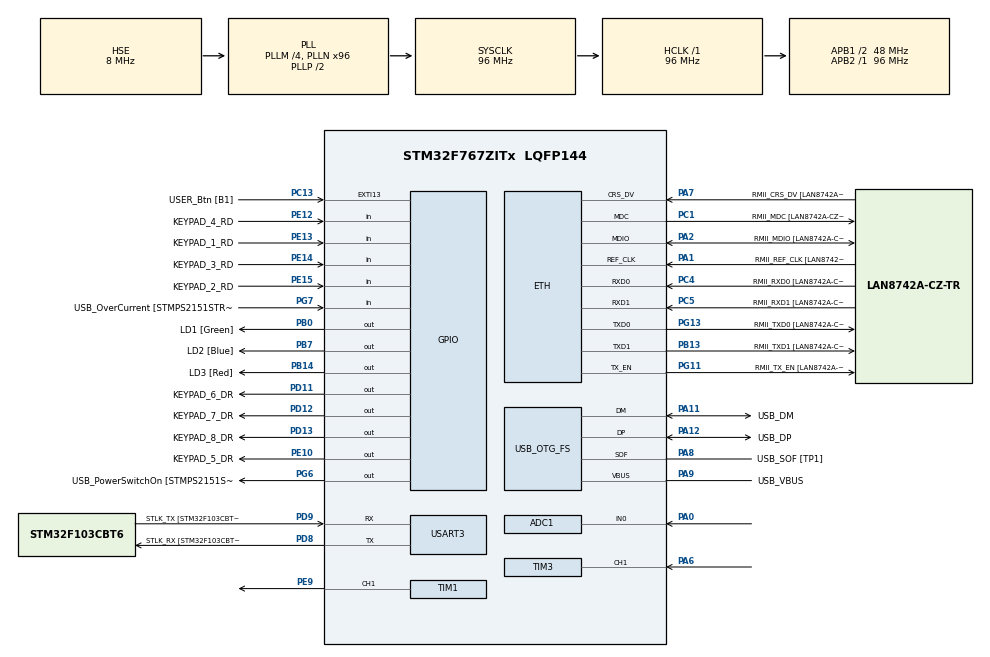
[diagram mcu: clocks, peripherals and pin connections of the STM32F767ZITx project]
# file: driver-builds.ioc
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ADC1.Channel-0\#ChannelRegularConversion=ADC_CHANNEL_0
ADC1.NbrOfConversionFlag=1
ADC1.Rank-0\#ChannelRegularConversion=1
ADC1.SamplingTime-0\#ChannelRegularConversion=ADC_SAMPLETIME_3CYCLES
ADC1.master=1
ETH.MediaInterface=HAL_ETH_RMII_MODE
ETH.PHY_Name=LAN8742A_PHY_ADDRESS
ETH.PHY_Value=0
ETH.PhyAddress=0
Mcu.Family=STM32F7
Mcu.Name=STM32F767ZITx
Mcu.Package=LQFP144
NVIC.EXTI15_10_IRQn=true\:0\:0\:false\:false\:true\:true\:true\:true
NVIC.PriorityGroup=NVIC_PRIORITYGROUP_4
NVIC.TIM3_IRQn=true\:0\:0\:false\:false\:true\:true\:true\:true
PA0/WKUP.Signal=ADCx_IN0
PA1.GPIO_Label=RMII_REF_CLK [LAN8742A-CZ-TR_REFCLK0]
PA1.Mode=RMII
PA1.Signal=ETH_REF_CLK
PA10.GPIO_Label=USB_ID
PA10.Signal=USB_OTG_FS_ID
PA11.GPIO_Label=USB_DM
PA11.Mode=Device_Only
PA11.Signal=USB_OTG_FS_DM
PA12.GPIO_Label=USB_DP
PA12.Mode=Device_Only
PA12.Signal=USB_OTG_FS_DP
PA13.GPIO_Label=TMS
PA13.Mode=Serial_Wire
PA13.Signal=SYS_JTMS-SWDIO
PA14.GPIO_Label=TCK
PA14.Mode=Serial_Wire
PA14.Signal=SYS_JTCK-SWCLK
PA2.GPIO_Label=RMII_MDIO [LAN8742A-CZ-TR_MDIO]
PA2.Mode=RMII
PA2.Signal=ETH_MDIO
PA6.Signal=S_TIM3_CH1
PA7.GPIO_Label=RMII_CRS_DV [LAN8742A-CZ-TR_CRS_DV]
PA7.Mode=RMII
PA7.Signal=ETH_CRS_DV
PA8.GPIO_Label=USB_SOF [TP1]
PA8.Mode=Activate_SOF_FS
PA8.Signal=USB_OTG_FS_SOF
PA9.GPIO_Label=USB_VBUS
PA9.Mode=Activate_VBUS
PA9.Signal=USB_OTG_FS_VBUS
PB0.GPIO_Label=LD1 [Green]
PB0.Signal=GPIO_Output
PB13.GPIO_Label=RMII_TXD1 [LAN8742A-CZ-TR_TXD1]
PB13.Mode=RMII
PB13.Signal=ETH_TXD1
PB14.GPIO_Label=LD3 [Red]
PB14.Signal=GPIO_Output
PB3.GPIO_Label=SWO
PB3.Signal=SYS_JTDO-SWO
PB7.GPIO_Label=LD2 [Blue]
PB7.Signal=GPIO_Output
PC1.GPIO_Label=RMII_MDC [LAN8742A-CZ-TR_MDC]
PC1.Mode=RMII
PC1.Signal=ETH_MDC
PC13.GPIO_Label=USER_Btn [B1]
PC13.GPIO_ModeDefaultEXTI=GPIO_MODE_IT_RISING
PC13.Signal=GPXTI13
PC14/OSC32_IN.Mode=LSE-External-Oscillator
PC14/OSC32_IN.Signal=RCC_OSC32_IN
PC15/OSC32_OUT.Mode=LSE-External-Oscillator
PC15/OSC32_OUT.Signal=RCC_OSC32_OUT
PC4.GPIO_Label=RMII_RXD0 [LAN8742A-CZ-TR_RXD0]
PC4.Mode=RMII
PC4.Signal=ETH_RXD0
PC5.GPIO_Label=RMII_RXD1 [LAN8742A-CZ-TR_RXD1]
PC5.Mode=RMII
PC5.Signal=ETH_RXD1
PD11.GPIO_Label=KEYPAD_6_DR
PD11.Signal=GPIO_Output
PD12.GPIO_Label=KEYPAD_7_DR
PD12.Signal=GPIO_Output
PD13.GPIO_Label=KEYPAD_8_DR
PD13.Signal=GPIO_Output
PD8.GPIO_Label=STLK_RX [STM32F103CBT6_PA3]
PD8.Mode=Asynchronous
PD8.Signal=USART3_TX
PD9.GPIO_Label=STLK_TX [STM32F103CBT6_PA2]
PD9.Mode=Asynchronous
PD9.Signal=USART3_RX
PE10.GPIO_Label=KEYPAD_5_DR
PE10.Signal=GPIO_Output
PE12.GPIO_Label=KEYPAD_4_RD
PE12.GPIO_PuPd=GPIO_PULLDOWN
PE12.Signal=GPIO_Input
PE13.GPIO_Label=KEYPAD_1_RD
PE13.GPIO_PuPd=GPIO_PULLDOWN
PE13.Signal=GPIO_Input
PE14.GPIO_Label=KEYPAD_3_RD
PE14.GPIO_PuPd=GPIO_PULLDOWN
PE14.Signal=GPIO_Input
PE15.GPIO_Label=KEYPAD_2_RD
PE15.GPIO_PuPd=GPIO_PULLDOWN
PE15.Signal=GPIO_Input
PE9.Signal=S_TIM1_CH1
PG11.GPIO_Label=RMII_TX_EN [LAN8742A-CZ-TR_TXEN]
PG11.Mode=RMII
PG11.Signal=ETH_TX_EN
PG13.GPIO_Label=RMII_TXD0 [LAN8742A-CZ-TR_TXD0]
PG13.Mode=RMII
PG13.Signal=ETH_TXD0
PG6.GPIO_Label=USB_PowerSwitchOn [STMPS2151STR_EN]
PG6.Signal=GPIO_Output
PG7.GPIO_Label=USB_OverCurrent [STMPS2151STR_FAULT]
PG7.Signal=GPIO_Input
PH0/OSC_IN.GPIO_Label=MCO [STM32F103CBT6_PA8]
PH0/OSC_IN.Mode=HSE-External-Clock-Source
PH0/OSC_IN.Signal=RCC_OSC_IN
PH1/OSC_OUT.Mode=HSE-External-Clock-Source
PH1/OSC_OUT.Signal=RCC_OSC_OUT
ProjectManager.HeapSize=0x200
ProjectManager.StackSize=0x400
ProjectManager.TargetToolchain=STM32CubeIDE
RCC.48MHZClocksFreq_Value=24000000
RCC.AHBFreq_Value=96000000
RCC.APB1CLKDivider=RCC_HCLK_DIV2
RCC.APB1Freq_Value=48000000
RCC.APB1TimFreq_Value=96000000
RCC.APB2Freq_Value=96000000
RCC.APB2TimFreq_Value=96000000
RCC.CortexFreq_Value=96000000
RCC.HCLKFreq_Value=96000000
RCC.HSE_VALUE=8000000
RCC.HSI_VALUE=16000000
RCC.PLLM=4
RCC.PLLMUL=RCC_PLL_MUL9
RCC.PLLN=96
RCC.PLLQ=4
RCC.PRESCALERUSB=RCC_USBCLKSOURCE_PLL_DIV1_5
RCC.SYSCLKFreq_VALUE=96000000
RCC.SYSCLKSource=RCC_SYSCLKSOURCE_PLLCLK
RCC.SYSCLKSourceVirtual=RCC_SYSCLKSOURCE_PLLCLK
RCC.USBFreq_Value=48000000
RCC.VCOOutputFreq_Value=192000000
SH.ADCx_IN0.0=ADC1_IN0,IN0
SH.S_TIM1_CH1.0=TIM1_CH1,PWM Generation1 CH1
SH.S_TIM3_CH1.0=TIM3_CH1,Input_Capture1_from_TI1
SH.S_TIM3_CH1.1=TIM3_CH1,TriggerSource_TI1FP1
TIM1.Channel-PWM\ Generation1\ CH1=TIM_CHANNEL_1
TIM1.Period=999
TIM1.Prescaler=95
TIM1.Pulse-PWM\ Generation1\ CH1=400
TIM3.Channel-Input_Capture1_from_TI1=TIM_CHANNEL_1
TIM3.Channel-Input_Capture2_from_TI1_63=TIM_CHANNEL_2
TIM3.ICFilter_CH1=2
TIM3.ICPolarity_CH2=TIM_INPUTCHANNELPOLARITY_FALLING
TIM3.Period=65535
TIM3.Prescaler=9
USART3.VirtualMode-Asynchronous=VM_ASYNC
USB_OTG_FS.VirtualMode=Device_Only
VP_TIM1_VS_ClockSourceINT.Mode=Internal
VP_TIM3_VS_ClockSourceINT.Mode=Internal
VP_TIM3_VS_ControllerModeReset.Mode=Reset Mode
VP_TIM3_VS_indirect_ch1.Mode=Input_Capture2_from_TI1_63
board=NUCLEO-F767ZI

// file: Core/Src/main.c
/* USER CODE BEGIN Header */
/**
  ******************************************************************************
  * @file           : main.c
  * @brief          : Main program body
  ******************************************************************************
  * @attention
  *
  * Copyright (c) 2025 STMicroelectronics.
  * All rights reserved.
  *
  * This software is licensed under terms that can be found in the LICENSE file
  * in the root directory of this software component.
  * If no LICENSE file comes with this software, it is provided AS-IS.
  *
  ******************************************************************************
  */
/* USER CODE END Header */
#include "main.h"
#include "string.h"

/* USER CODE BEGIN PD */
#define TIM_CLK 96000000

/* USER CODE END PD */

#if defined ( __ICCARM__ ) /*!< IAR Compiler */
#pragma location=0x2007c000
ETH_DMADescTypeDef  DMARxDscrTab[ETH_RX_DESC_CNT]; /* Ethernet Rx DMA Descriptors */
#pragma location=0x2007c0a0
ETH_DMADescTypeDef  DMATxDscrTab[ETH_TX_DESC_CNT]; /* Ethernet Tx DMA Descriptors */

#elif defined ( __CC_ARM )  /* MDK ARM Compiler */

__attribute__((at(0x2007c000))) ETH_DMADescTypeDef  DMARxDscrTab[ETH_RX_DESC_CNT]; /* Ethernet Rx DMA Descriptors */
__attribute__((at(0x2007c0a0))) ETH_DMADescTypeDef  DMATxDscrTab[ETH_TX_DESC_CNT]; /* Ethernet Tx DMA Descriptors */

#elif defined ( __GNUC__ ) /* GNU Compiler */

ETH_DMADescTypeDef DMARxDscrTab[ETH_RX_DESC_CNT] __attribute__((section(".RxDecripSection"))); /* Ethernet Rx DMA Descriptors */
ETH_DMADescTypeDef DMATxDscrTab[ETH_TX_DESC_CNT] __attribute__((section(".TxDecripSection")));   /* Ethernet Tx DMA Descriptors */
#endif

ETH_TxPacketConfig TxConfig;

ADC_HandleTypeDef hadc1;

ETH_HandleTypeDef heth;

TIM_HandleTypeDef htim1;
TIM_HandleTypeDef htim3;

UART_HandleTypeDef huart3;

PCD_HandleTypeDef hpcd_USB_OTG_FS;

/* USER CODE BEGIN PV */
volatile uint32_t IC_Val1 = 0; // For channel 1
volatile uint32_t IC_Val2 = 0; // For channel 2
volatile uint32_t Is_Capture_Done = 0; // Acts as a flag

volatile float frequency = 0.0f;
volatile float duty_cycle = 0.0f;

/* USER CODE END PV */

void SystemClock_Config(void);
static void MX_GPIO_Init(void);
static void MX_ETH_Init(void);
static void MX_USART3_UART_Init(void);
static void MX_USB_OTG_FS_PCD_Init(void);
static void MX_TIM3_Init(void);
static void MX_TIM1_Init(void);
static void MX_ADC1_Init(void);
/* USER CODE BEGIN PFP */
#define PUTCHAR_PROTOTYPE int __io_putchar(int ch) //With GCC used, else use fputc
/* USER CODE END PFP */

/* USER CODE BEGIN 0 */
PUTCHAR_PROTOTYPE
{
  HAL_UART_Transmit(&huart3, (uint8_t *)&ch, 1, HAL_MAX_DELAY);
  return ch;
}
/* USER CODE END 0 */

int main(void)
{

  /* USER CODE BEGIN 1 */
	MyGPIO drivers[KEYPAD_ROWS] = { {GPIOE, GPIO_PIN_10} , {GPIOD, GPIO_PIN_11} , \
			{GPIOD, GPIO_PIN_12} , {GPIOD, GPIO_PIN_13} };
	MyGPIO readers[KEYPAD_ROWS] = { {GPIOE, GPIO_PIN_13} , {GPIOE, GPIO_PIN_15} , \
			{GPIOE, GPIO_PIN_14} , {GPIOE, GPIO_PIN_12} };
	KeyPad pad;
  /* USER CODE END 1 */

  /* MCU Configuration--------------------------------------------------------*/

  /* Reset of all peripherals, Initializes the Flash interface and the Systick. */
  HAL_Init();

  /* USER CODE BEGIN Init */
  myKeyPad_Init(&pad, drivers, readers);
  /* USER CODE END Init */

  /* Configure the system clock */
  SystemClock_Config();

  /* Initialize all configured peripherals */
  MX_GPIO_Init();
  MX_ETH_Init();
  MX_USART3_UART_Init();
  MX_USB_OTG_FS_PCD_Init();
  MX_TIM3_Init();
  MX_TIM1_Init();
  MX_ADC1_Init();
  /* USER CODE BEGIN 2 */

  HAL_TIM_IC_Start_IT(&htim3, TIM_CHANNEL_1);
  HAL_TIM_IC_Start_IT(&htim3, TIM_CHANNEL_2);

  HAL_TIM_PWM_Start(&htim1, TIM_CHANNEL_1);

  /* USER CODE END 2 */

  /* Infinite loop */
  while (1)
  {

    /* USER CODE BEGIN 3 */

	  if (Is_Capture_Done) {
	      printf("Frequency: %.2f Hz, Duty Cycle: %.2f %%\r\n", frequency, duty_cycle);
	      //printf("IC1: %4d IC2: %4d\r\n", IC_Val1, IC_Val2);
		  Is_Capture_Done = 0;
	  }
	  HAL_Delay(500);

	  /*
	  myKeyPad_Read(&pad);
	  printf("Res: %d\r\n", pad.num);
	  for (int i = 0; i < 4; i++) {
		  for (int j = 0; j < 4; j++) {
			  printf("%d ", pad.buttons[i][j]);
		  }
		  printf("\r\n");
	  }
	  printf("\r\n");
	  HAL_Delay(100);*/

  }

  myKeyPad_DeInit(&pad);
  /* USER CODE END 3 */
}

void SystemClock_Config(void)
{
  RCC_OscInitTypeDef RCC_OscInitStruct = {0};
  RCC_ClkInitTypeDef RCC_ClkInitStruct = {0};

  /** Configure LSE Drive Capability
  */
  HAL_PWR_EnableBkUpAccess();

  /** Configure the main internal regulator output voltage
  */
  __HAL_RCC_PWR_CLK_ENABLE();
  __HAL_PWR_VOLTAGESCALING_CONFIG(PWR_REGULATOR_VOLTAGE_SCALE3);

  /** Initializes the RCC Oscillators according to the specified parameters
  * in the RCC_OscInitTypeDef structure.
  */
  RCC_OscInitStruct.OscillatorType = RCC_OSCILLATORTYPE_HSE;
  RCC_OscInitStruct.HSEState = RCC_HSE_BYPASS;
  RCC_OscInitStruct.PLL.PLLState = RCC_PLL_ON;
  RCC_OscInitStruct.PLL.PLLSource = RCC_PLLSOURCE_HSE;
  RCC_OscInitStruct.PLL.PLLM = 4;
  RCC_OscInitStruct.PLL.PLLN = 96;
  RCC_OscInitStruct.PLL.PLLP = RCC_PLLP_DIV2;
  RCC_OscInitStruct.PLL.PLLQ = 4;
  RCC_OscInitStruct.PLL.PLLR = 2;
  if (HAL_RCC_OscConfig(&RCC_OscInitStruct) != HAL_OK)
  {
    Error_Handler();
  }

  /** Activate the Over-Drive mode
  */
  if (HAL_PWREx_EnableOverDrive() != HAL_OK)
  {
    Error_Handler();
  }

  /** Initializes the CPU, AHB and APB buses clocks
  */
  RCC_ClkInitStruct.ClockType = RCC_CLOCKTYPE_HCLK|RCC_CLOCKTYPE_SYSCLK
                              |RCC_CLOCKTYPE_PCLK1|RCC_CLOCKTYPE_PCLK2;
  RCC_ClkInitStruct.SYSCLKSource = RCC_SYSCLKSOURCE_PLLCLK;
  RCC_ClkInitStruct.AHBCLKDivider = RCC_SYSCLK_DIV1;
  RCC_ClkInitStruct.APB1CLKDivider = RCC_HCLK_DIV2;
  RCC_ClkInitStruct.APB2CLKDivider = RCC_HCLK_DIV1;

  if (HAL_RCC_ClockConfig(&RCC_ClkInitStruct, FLASH_LATENCY_3) != HAL_OK)
  {
    Error_Handler();
  }
}

static void MX_ADC1_Init(void)
{

  ADC_ChannelConfTypeDef sConfig = {0};

  /** Configure the global features of the ADC (Clock, Resolution, Data Alignment and number of conversion)
  */
  hadc1.Instance = ADC1;
  hadc1.Init.ClockPrescaler = ADC_CLOCK_SYNC_PCLK_DIV4;
  hadc1.Init.Resolution = ADC_RESOLUTION_12B;
  hadc1.Init.ScanConvMode = ADC_SCAN_DISABLE;
  hadc1.Init.ContinuousConvMode = DISABLE;
  hadc1.Init.DiscontinuousConvMode = DISABLE;
  hadc1.Init.ExternalTrigConvEdge = ADC_EXTERNALTRIGCONVEDGE_NONE;
  hadc1.Init.ExternalTrigConv = ADC_SOFTWARE_START;
  hadc1.Init.DataAlign = ADC_DATAALIGN_RIGHT;
  hadc1.Init.NbrOfConversion = 1;
  hadc1.Init.DMAContinuousRequests = DISABLE;
  hadc1.Init.EOCSelection = ADC_EOC_SINGLE_CONV;
  if (HAL_ADC_Init(&hadc1) != HAL_OK)
  {
    Error_Handler();
  }

  /** Configure for the selected ADC regular channel its corresponding rank in the sequencer and its sample time.
  */
  sConfig.Channel = ADC_CHANNEL_0;
  sConfig.Rank = ADC_REGULAR_RANK_1;
  sConfig.SamplingTime = ADC_SAMPLETIME_3CYCLES;
  if (HAL_ADC_ConfigChannel(&hadc1, &sConfig) != HAL_OK)
  {
    Error_Handler();
  }

}

static void MX_ETH_Init(void)
{

   static uint8_t MACAddr[6];

  heth.Instance = ETH;
  MACAddr[0] = 0x00;
  MACAddr[1] = 0x80;
  MACAddr[2] = 0xE1;
  MACAddr[3] = 0x00;
  MACAddr[4] = 0x00;
  MACAddr[5] = 0x00;
  heth.Init.MACAddr = &MACAddr[0];
  heth.Init.MediaInterface = HAL_ETH_RMII_MODE;
  heth.Init.TxDesc = DMATxDscrTab;
  heth.Init.RxDesc = DMARxDscrTab;
  heth.Init.RxBuffLen = 1524;

  if (HAL_ETH_Init(&heth) != HAL_OK)
  {
    Error_Handler();
  }

  memset(&TxConfig, 0 , sizeof(ETH_TxPacketConfig));
  TxConfig.Attributes = ETH_TX_PACKETS_FEATURES_CSUM | ETH_TX_PACKETS_FEATURES_CRCPAD;
  TxConfig.ChecksumCtrl = ETH_CHECKSUM_IPHDR_PAYLOAD_INSERT_PHDR_CALC;
  TxConfig.CRCPadCtrl = ETH_CRC_PAD_INSERT;

}

static void MX_TIM1_Init(void)
{

  TIM_ClockConfigTypeDef sClockSourceConfig = {0};
  TIM_MasterConfigTypeDef sMasterConfig = {0};
  TIM_OC_InitTypeDef sConfigOC = {0};
  TIM_BreakDeadTimeConfigTypeDef sBreakDeadTimeConfig = {0};

  htim1.Instance = TIM1;
  htim1.Init.Prescaler = 95;
  htim1.Init.CounterMode = TIM_COUNTERMODE_UP;
  htim1.Init.Period = 999;
  htim1.Init.ClockDivision = TIM_CLOCKDIVISION_DIV1;
  htim1.Init.RepetitionCounter = 0;
  htim1.Init.AutoReloadPreload = TIM_AUTORELOAD_PRELOAD_DISABLE;
  if (HAL_TIM_Base_Init(&htim1) != HAL_OK)
  {
    Error_Handler();
  }
  sClockSourceConfig.ClockSource = TIM_CLOCKSOURCE_INTERNAL;
  if (HAL_TIM_ConfigClockSource(&htim1, &sClockSourceConfig) != HAL_OK)
  {
    Error_Handler();
  }
  if (HAL_TIM_PWM_Init(&htim1) != HAL_OK)
  {
    Error_Handler();
  }
  sMasterConfig.MasterOutputTrigger = TIM_TRGO_RESET;
  sMasterConfig.MasterOutputTrigger2 = TIM_TRGO2_RESET;
  sMasterConfig.MasterSlaveMode = TIM_MASTERSLAVEMODE_DISABLE;
  if (HAL_TIMEx_MasterConfigSynchronization(&htim1, &sMasterConfig) != HAL_OK)
  {
    Error_Handler();
  }
  sConfigOC.OCMode = TIM_OCMODE_PWM1;
  sConfigOC.Pulse = 400;
  sConfigOC.OCPolarity = TIM_OCPOLARITY_HIGH;
  sConfigOC.OCNPolarity = TIM_OCNPOLARITY_HIGH;
  sConfigOC.OCFastMode = TIM_OCFAST_DISABLE;
  sConfigOC.OCIdleState = TIM_OCIDLESTATE_RESET;
  sConfigOC.OCNIdleState = TIM_OCNIDLESTATE_RESET;
  if (HAL_TIM_PWM_ConfigChannel(&htim1, &sConfigOC, TIM_CHANNEL_1) != HAL_OK)
  {
    Error_Handler();
  }
  sBreakDeadTimeConfig.OffStateRunMode = TIM_OSSR_DISABLE;
  sBreakDeadTimeConfig.OffStateIDLEMode = TIM_OSSI_DISABLE;
  sBreakDeadTimeConfig.LockLevel = TIM_LOCKLEVEL_OFF;
  sBreakDeadTimeConfig.DeadTime = 0;
  sBreakDeadTimeConfig.BreakState = TIM_BREAK_DISABLE;
  sBreakDeadTimeConfig.BreakPolarity = TIM_BREAKPOLARITY_HIGH;
  sBreakDeadTimeConfig.BreakFilter = 0;
  sBreakDeadTimeConfig.Break2State = TIM_BREAK2_DISABLE;
  sBreakDeadTimeConfig.Break2Polarity = TIM_BREAK2POLARITY_HIGH;
  sBreakDeadTimeConfig.Break2Filter = 0;
  sBreakDeadTimeConfig.AutomaticOutput = TIM_AUTOMATICOUTPUT_DISABLE;
  if (HAL_TIMEx_ConfigBreakDeadTime(&htim1, &sBreakDeadTimeConfig) != HAL_OK)
  {
    Error_Handler();
  }
  HAL_TIM_MspPostInit(&htim1);

}

static void MX_TIM3_Init(void)
{

  TIM_ClockConfigTypeDef sClockSourceConfig = {0};
  TIM_SlaveConfigTypeDef sSlaveConfig = {0};
  TIM_MasterConfigTypeDef sMasterConfig = {0};
  TIM_IC_InitTypeDef sConfigIC = {0};

  htim3.Instance = TIM3;
  htim3.Init.Prescaler = 9;
  htim3.Init.CounterMode = TIM_COUNTERMODE_UP;
  htim3.Init.Period = 65535;
  htim3.Init.ClockDivision = TIM_CLOCKDIVISION_DIV1;
  htim3.Init.AutoReloadPreload = TIM_AUTORELOAD_PRELOAD_DISABLE;
  if (HAL_TIM_Base_Init(&htim3) != HAL_OK)
  {
    Error_Handler();
  }
  sClockSourceConfig.ClockSource = TIM_CLOCKSOURCE_INTERNAL;
  if (HAL_TIM_ConfigClockSource(&htim3, &sClockSourceConfig) != HAL_OK)
  {
    Error_Handler();
  }
  if (HAL_TIM_IC_Init(&htim3) != HAL_OK)
  {
    Error_Handler();
  }
  sSlaveConfig.SlaveMode = TIM_SLAVEMODE_RESET;
  sSlaveConfig.InputTrigger = TIM_TS_TI1FP1;
  sSlaveConfig.TriggerPolarity = TIM_INPUTCHANNELPOLARITY_RISING;
  sSlaveConfig.TriggerFilter = 0;
  if (HAL_TIM_SlaveConfigSynchro(&htim3, &sSlaveConfig) != HAL_OK)
  {
    Error_Handler();
  }
  sMasterConfig.MasterOutputTrigger = TIM_TRGO_RESET;
  sMasterConfig.MasterSlaveMode = TIM_MASTERSLAVEMODE_DISABLE;
  if (HAL_TIMEx_MasterConfigSynchronization(&htim3, &sMasterConfig) != HAL_OK)
  {
    Error_Handler();
  }
  sConfigIC.ICPolarity = TIM_INPUTCHANNELPOLARITY_RISING;
  sConfigIC.ICSelection = TIM_ICSELECTION_DIRECTTI;
  sConfigIC.ICPrescaler = TIM_ICPSC_DIV1;
  sConfigIC.ICFilter = 2;
  if (HAL_TIM_IC_ConfigChannel(&htim3, &sConfigIC, TIM_CHANNEL_1) != HAL_OK)
  {
    Error_Handler();
  }
  sConfigIC.ICPolarity = TIM_INPUTCHANNELPOLARITY_FALLING;
  sConfigIC.ICSelection = TIM_ICSELECTION_INDIRECTTI;
  sConfigIC.ICFilter = 0;
  if (HAL_TIM_IC_ConfigChannel(&htim3, &sConfigIC, TIM_CHANNEL_2) != HAL_OK)
  {
    Error_Handler();
  }

}

static void MX_USART3_UART_Init(void)
{

  huart3.Instance = USART3;
  huart3.Init.BaudRate = 115200;
  huart3.Init.WordLength = UART_WORDLENGTH_8B;
  huart3.Init.StopBits = UART_STOPBITS_1;
  huart3.Init.Parity = UART_PARITY_NONE;
  huart3.Init.Mode = UART_MODE_TX_RX;
  huart3.Init.HwFlowCtl = UART_HWCONTROL_NONE;
  huart3.Init.OverSampling = UART_OVERSAMPLING_16;
  huart3.Init.OneBitSampling = UART_ONE_BIT_SAMPLE_DISABLE;
  huart3.AdvancedInit.AdvFeatureInit = UART_ADVFEATURE_NO_INIT;
  if (HAL_UART_Init(&huart3) != HAL_OK)
  {
    Error_Handler();
  }

}

static void MX_USB_OTG_FS_PCD_Init(void)
{

  hpcd_USB_OTG_FS.Instance = USB_OTG_FS;
  hpcd_USB_OTG_FS.Init.dev_endpoints = 6;
  hpcd_USB_OTG_FS.Init.speed = PCD_SPEED_FULL;
  hpcd_USB_OTG_FS.Init.dma_enable = DISABLE;
  hpcd_USB_OTG_FS.Init.phy_itface = PCD_PHY_EMBEDDED;
  hpcd_USB_OTG_FS.Init.Sof_enable = ENABLE;
  hpcd_USB_OTG_FS.Init.low_power_enable = DISABLE;
  hpcd_USB_OTG_FS.Init.lpm_enable = DISABLE;
  hpcd_USB_OTG_FS.Init.vbus_sensing_enable = ENABLE;
  hpcd_USB_OTG_FS.Init.use_dedicated_ep1 = DISABLE;
  if (HAL_PCD_Init(&hpcd_USB_OTG_FS) != HAL_OK)
  {
    Error_Handler();
  }

}

static void MX_GPIO_Init(void)
{
  GPIO_InitTypeDef GPIO_InitStruct = {0};

  /* GPIO Ports Clock Enable */
  __HAL_RCC_GPIOC_CLK_ENABLE();
  __HAL_RCC_GPIOH_CLK_ENABLE();
  __HAL_RCC_GPIOA_CLK_ENABLE();
  __HAL_RCC_GPIOB_CLK_ENABLE();
  __HAL_RCC_GPIOE_CLK_ENABLE();
  __HAL_RCC_GPIOD_CLK_ENABLE();
  __HAL_RCC_GPIOG_CLK_ENABLE();

  /*Configure GPIO pin Output Level */
  HAL_GPIO_WritePin(GPIOB, LD1_Pin|LD3_Pin|LD2_Pin, GPIO_PIN_RESET);

  /*Configure GPIO pin Output Level */
  HAL_GPIO_WritePin(KEYPAD_5_DR_GPIO_Port, KEYPAD_5_DR_Pin, GPIO_PIN_RESET);

  /*Configure GPIO pin Output Level */
  HAL_GPIO_WritePin(GPIOD, KEYPAD_6_DR_Pin|KEYPAD_7_DR_Pin|KEYPAD_8_DR_Pin, GPIO_PIN_RESET);

  /*Configure GPIO pin Output Level */
  HAL_GPIO_WritePin(USB_PowerSwitchOn_GPIO_Port, USB_PowerSwitchOn_Pin, GPIO_PIN_RESET);

  /*Configure GPIO pin : USER_Btn_Pin */
  GPIO_InitStruct.Pin = USER_Btn_Pin;
  GPIO_InitStruct.Mode = GPIO_MODE_IT_RISING;
  GPIO_InitStruct.Pull = GPIO_NOPULL;
  HAL_GPIO_Init(USER_Btn_GPIO_Port, &GPIO_InitStruct);

  /*Configure GPIO pins : LD1_Pin LD3_Pin LD2_Pin */
  GPIO_InitStruct.Pin = LD1_Pin|LD3_Pin|LD2_Pin;
  GPIO_InitStruct.Mode = GPIO_MODE_OUTPUT_PP;
  GPIO_InitStruct.Pull = GPIO_NOPULL;
  GPIO_InitStruct.Speed = GPIO_SPEED_FREQ_LOW;
  HAL_GPIO_Init(GPIOB, &GPIO_InitStruct);

  /*Configure GPIO pin : KEYPAD_5_DR_Pin */
  GPIO_InitStruct.Pin = KEYPAD_5_DR_Pin;
  GPIO_InitStruct.Mode = GPIO_MODE_OUTPUT_PP;
  GPIO_InitStruct.Pull = GPIO_NOPULL;
  GPIO_InitStruct.Speed = GPIO_SPEED_FREQ_LOW;
  HAL_GPIO_Init(KEYPAD_5_DR_GPIO_Port, &GPIO_InitStruct);

  /*Configure GPIO pins : KEYPAD_4_RD_Pin KEYPAD_1_RD_Pin KEYPAD_3_RD_Pin KEYPAD_2_RD_Pin */
  GPIO_InitStruct.Pin = KEYPAD_4_RD_Pin|KEYPAD_1_RD_Pin|KEYPAD_3_RD_Pin|KEYPAD_2_RD_Pin;
  GPIO_InitStruct.Mode = GPIO_MODE_INPUT;
  GPIO_InitStruct.Pull = GPIO_PULLDOWN;
  HAL_GPIO_Init(GPIOE, &GPIO_InitStruct);

  /*Configure GPIO pins : KEYPAD_6_DR_Pin KEYPAD_7_DR_Pin KEYPAD_8_DR_Pin */
  GPIO_InitStruct.Pin = KEYPAD_6_DR_Pin|KEYPAD_7_DR_Pin|KEYPAD_8_DR_Pin;
  GPIO_InitStruct.Mode = GPIO_MODE_OUTPUT_PP;
  GPIO_InitStruct.Pull = GPIO_NOPULL;
  GPIO_InitStruct.Speed = GPIO_SPEED_FREQ_LOW;
  HAL_GPIO_Init(GPIOD, &GPIO_InitStruct);

  /*Configure GPIO pin : USB_PowerSwitchOn_Pin */
  GPIO_InitStruct.Pin = USB_PowerSwitchOn_Pin;
  GPIO_InitStruct.Mode = GPIO_MODE_OUTPUT_PP;
  GPIO_InitStruct.Pull = GPIO_NOPULL;
  GPIO_InitStruct.Speed = GPIO_SPEED_FREQ_LOW;
  HAL_GPIO_Init(USB_PowerSwitchOn_GPIO_Port, &GPIO_InitStruct);

  /*Configure GPIO pin : USB_OverCurrent_Pin */
  GPIO_InitStruct.Pin = USB_OverCurrent_Pin;
  GPIO_InitStruct.Mode = GPIO_MODE_INPUT;
  GPIO_InitStruct.Pull = GPIO_NOPULL;
  HAL_GPIO_Init(USB_OverCurrent_GPIO_Port, &GPIO_InitStruct);

  /* EXTI interrupt init*/
  HAL_NVIC_SetPriority(EXTI15_10_IRQn, 0, 0);
  HAL_NVIC_EnableIRQ(EXTI15_10_IRQn);

}

/* USER CODE BEGIN 4 */
// Capture callback for timers input capture
void HAL_TIM_IC_CaptureCallback(TIM_HandleTypeDef *htim) {
  if (htim->Instance == TIM3) {
	// Measure frequency and duty cycle
	uint32_t psc = htim->Init.Prescaler;
	// Starting at the posedge trigger
    if (htim->Channel == HAL_TIM_ACTIVE_CHANNEL_1) {
      // Read the captured value for the Period
      IC_Val1 = HAL_TIM_ReadCapturedValue(htim, TIM_CHANNEL_1);

      if (IC_Val1 == 0) return;

      IC_Val2 = HAL_TIM_ReadCapturedValue(htim, TIM_CHANNEL_2);

      duty_cycle = ((float)IC_Val2 / (float)IC_Val1) * 100.0f;
      frequency = TIM_CLK / (psc + 1) / (IC_Val1 + 1);

      Is_Capture_Done = 1;
    }
  }
}
/* USER CODE END 4 */

void Error_Handler(void)
{
  __disable_irq();
  while (1)
  {
  }
}
